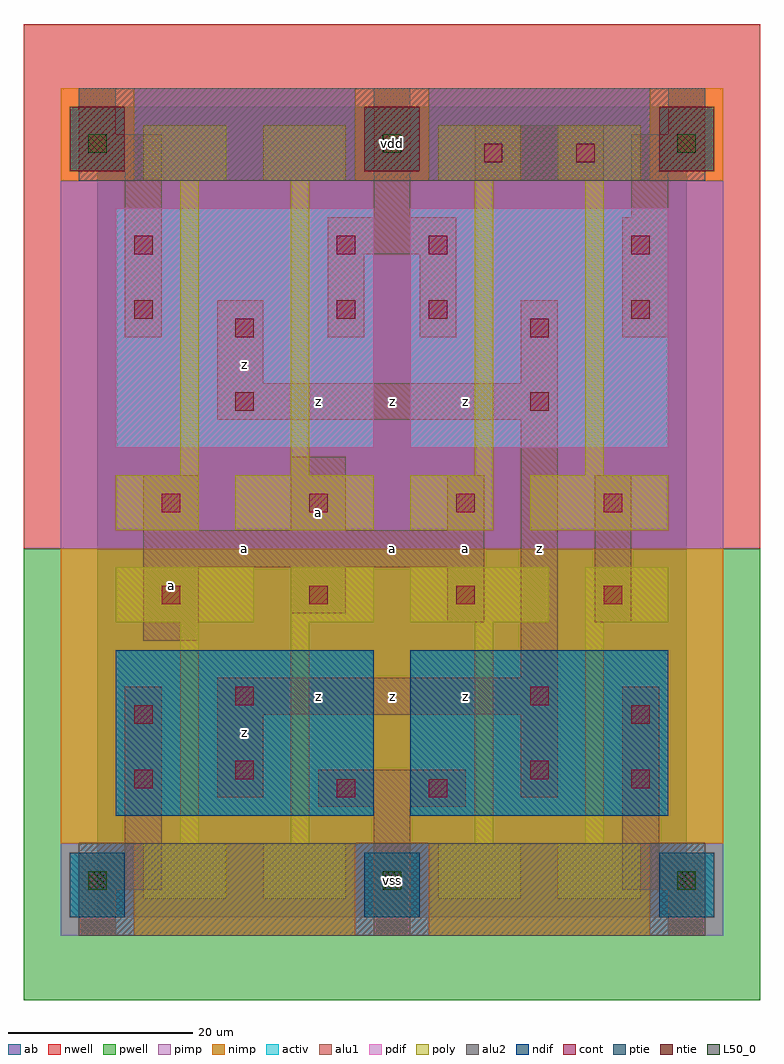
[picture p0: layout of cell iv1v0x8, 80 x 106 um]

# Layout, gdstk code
import gdstk
lib = gdstk.Library(unit=1e-6, precision=1e-09)
def R(c, l, rs):  # rectangles x0, y0, x1, y1
    for r in rs: c.add(gdstk.rectangle(r[:2], r[2:], *l))
def A(c, l, x, y, w, h, nx, ny, dx, dy):  # array of equal rectangles
    R(c, l, [(x+i*dx, y+j*dy, x+i*dx+w, y+j*dy+h) for i in range(nx) for j in range(ny)])
ndif = (3, 0)
pdif = (4, 0)
ntie = (5, 0)
ptie = (6, 0)
cont = (25, 0)
pwell = (41, 0)
nwell = (42, 0)
activ = (43, 0)
pimp = (44, 0)
nimp = (45, 0)
poly = (46, 0)
alu1 = (49, 0)
L50_0 = (50, 0)
alu2 = (51, 0)
ab = (63, 0)

iv1v0x8 = lib.new_cell('iv1v0x8')
R(iv1v0x8, ndif, [(2,11,30,29), (34,11,62,29)])
R(iv1v0x8, pdif, [(2,51,30,77), (34,51,62,77)])
A(iv1v0x8, ntie, -3, 81, 6, 7, 3, 1, 32, 0)
A(iv1v0x8, ptie, -3, 0, 6, 7, 3, 1, 32, 0)
A(iv1v0x8, cont, -1, 3, 2, 2, 3, 2, 32, 80)
A(iv1v0x8, cont, 7, 34, 2, 2, 4, 2, 16, 10)
R(iv1v0x8, cont, [(26,13,28,15), (36,13,38,15), (4,14,6,16), (58,14,60,16), (15,15,17,17), (47,15,49,17), (4,21,6,23), (58,21,60,23), (15,23,17,25), (47,23,49,25), (15,55,17,57), (47,55,49,57), (15,63,17,65), (47,63,49,65), (4,65,6,67), (26,65,28,67), (36,65,38,67), (58,65,60,67), (4,72,6,74), (26,72,28,74), (36,72,38,74), (58,72,60,74), (42,82,44,84), (52,82,54,84)])
R(iv1v0x8, pwell, [(-8,-9,72,40)])
R(iv1v0x8, nwell, [(-8,40,72,97)])
A(iv1v0x8, activ, -3, 0, 6, 7, 3, 2, 32, 81)
R(iv1v0x8, activ, [(2,11,30,29), (34,11,62,29), (2,51,30,77), (34,51,62,77)])
A(iv1v0x8, pimp, -4, -2, 8, 10, 3, 1, 32, 0)
R(iv1v0x8, pimp, [(-4,40,68,80), (4,80,28,90), (36,80,60,90)])
A(iv1v0x8, nimp, -4, 80, 8, 10, 3, 1, 32, 0)
R(iv1v0x8, nimp, [(4,-2,28,8), (36,-2,60,8), (-4,8,68,40)])
R(iv1v0x8, poly, [(5,2,14,8), (18,2,27,8), (37,2,46,8), (50,2,59,8), (9,8,11,32), (21,8,23,32), (41,8,43,32), (53,8,55,32), (2,32,17,38), (21,32,30,38), (34,32,49,38), (53,32,62,38), (2,42,11,48), (15,42,30,48), (34,42,43,48), (47,42,62,48), (9,48,11,80), (21,48,23,80), (41,48,43,80), (53,48,55,80), (5,80,14,86), (18,80,27,86), (37,80,46,86), (50,80,59,86)])
R(iv1v0x8, alu1, [(-2,-2,2,3), (30,-2,34,12), (62,-2,66,3), (-2,3,7,7), (57,3,66,7), (3,7,7,25), (57,7,61,25), (24,12,40,16), (13,13,18,22), (46,13,50,22), (13,22,50,26), (46,26,50,54), (5,30,11,38), (38,32,42,38), (54,32,58,48), (21,33,27,38), (5,38,42,42), (5,42,11,48), (21,42,27,50), (38,42,42,48), (13,54,50,58), (13,58,18,67), (46,58,50,67), (3,63,7,81), (25,63,29,72), (35,63,39,72), (57,63,62,76), (25,72,39,76), (30,76,34,90), (58,76,62,81), (41,80,55,86), (-2,81,7,85), (58,81,66,85), (-2,85,2,90), (62,85,66,90)])
A(iv1v0x8, L50_0, -1, 3, 2, 2, 3, 2, 32, 80)
R(iv1v0x8, alu2, [(-2,-2,66,8), (-2,80,66,90)])
R(iv1v0x8, ab, [(0,0,64,88)])
iv1v0x8.add(gdstk.Label('a', (8,36), layer=49, texttype=0))
iv1v0x8.add(gdstk.Label('z', (24,24), layer=49, texttype=0))
iv1v0x8.add(gdstk.Label('z', (16,20), layer=49, texttype=0))
iv1v0x8.add(gdstk.Label('a', (16,40), layer=49, texttype=0))
iv1v0x8.add(gdstk.Label('a', (24,44), layer=49, texttype=0))
iv1v0x8.add(gdstk.Label('z', (16,60), layer=49, texttype=0))
iv1v0x8.add(gdstk.Label('z', (24,56), layer=49, texttype=0))
iv1v0x8.add(gdstk.Label('z', (40,24), layer=49, texttype=0))
iv1v0x8.add(gdstk.Label('z', (32,24), layer=49, texttype=0))
iv1v0x8.add(gdstk.Label('a', (32,40), layer=49, texttype=0))
iv1v0x8.add(gdstk.Label('a', (40,40), layer=49, texttype=0))
iv1v0x8.add(gdstk.Label('z', (32,56), layer=49, texttype=0))
iv1v0x8.add(gdstk.Label('z', (40,56), layer=49, texttype=0))
iv1v0x8.add(gdstk.Label('z', (48,40), layer=49, texttype=0))
iv1v0x8.add(gdstk.Label('vss', (32,4), layer=51, texttype=0))
iv1v0x8.add(gdstk.Label('vdd', (32,84), layer=51, texttype=0))

lib.write_gds('iv1v0x8.gds')
